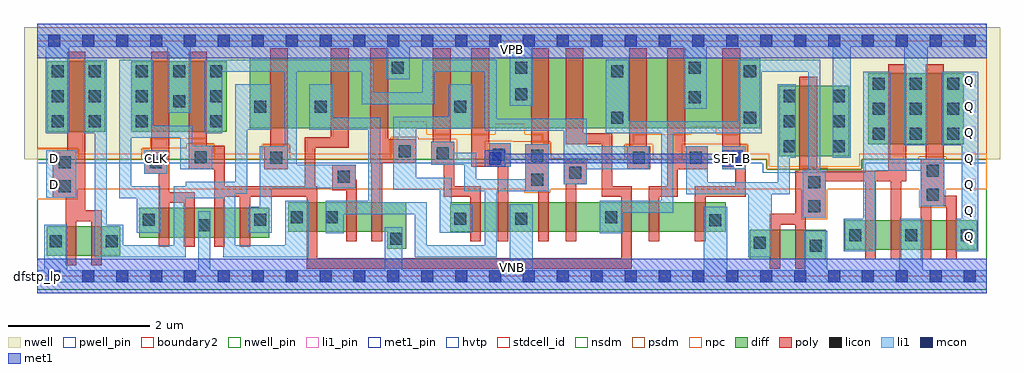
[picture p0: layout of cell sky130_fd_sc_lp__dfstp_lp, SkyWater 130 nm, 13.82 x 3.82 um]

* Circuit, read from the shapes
.subckt sky130_fd_sc_lp__dfstp_lp CLK D Q SET_B VGND VNB VPB VPWR
XM1 n1 D VGND VNB sky130_fd_pr__nfet_01v8 w=0.42 l=0.15
XM2 n2 D n1 VNB sky130_fd_pr__nfet_01v8 w=0.42 l=0.15
XM3 n3 CLK n4 VNB sky130_fd_pr__nfet_01v8 w=0.42 l=0.15
XM4 VGND CLK n3 VNB sky130_fd_pr__nfet_01v8 w=0.42 l=0.15
XM5 n5 n4 VGND VNB sky130_fd_pr__nfet_01v8 w=0.42 l=0.15
XM6 n6 n4 n5 VNB sky130_fd_pr__nfet_01v8 w=0.42 l=0.15
XM7 n7 n4 n2 VNB sky130_fd_pr__nfet_01v8 w=0.42 l=0.15
XM8 n8 n6 n7 VNB sky130_fd_pr__nfet_01v8 w=0.42 l=0.15
XM9 VGND n9 n8 VNB sky130_fd_pr__nfet_01v8 w=0.42 l=0.15
XM10 n10 n7 n9 VNB sky130_fd_pr__nfet_01v8 w=0.42 l=0.15
XM11 VGND SET_B n10 VNB sky130_fd_pr__nfet_01v8 w=0.42 l=0.15
XM12 n11 n7 VGND VNB sky130_fd_pr__nfet_01v8 w=0.42 l=0.15
XM13 n12 n6 n11 VNB sky130_fd_pr__nfet_01v8 w=0.42 l=0.15
XM14 n13 n4 n12 VNB sky130_fd_pr__nfet_01v8 w=0.42 l=0.15
XM15 n14 n15 n13 VNB sky130_fd_pr__nfet_01v8 w=0.42 l=0.15
XM16 VGND SET_B n14 VNB sky130_fd_pr__nfet_01v8 w=0.42 l=0.15
XM17 n16 n12 n15 VNB sky130_fd_pr__nfet_01v8 w=0.42 l=0.15
XM18 VGND n12 n16 VNB sky130_fd_pr__nfet_01v8 w=0.42 l=0.15
XM19 n17 n12 n18 VNB sky130_fd_pr__nfet_01v8 w=0.42 l=0.15
XM20 VGND n12 n17 VNB sky130_fd_pr__nfet_01v8 w=0.42 l=0.15
XM21 n19 n18 VGND VNB sky130_fd_pr__nfet_01v8 w=0.42 l=0.15
XM22 Q n18 n19 VNB sky130_fd_pr__nfet_01v8 w=0.42 l=0.15
XM23 n2 D VPWR VPB sky130_fd_pr__pfet_01v8_hvt w=1 l=0.25
XM24 VPWR CLK n4 VPB sky130_fd_pr__pfet_01v8_hvt w=1 l=0.25
XM25 n6 n4 VPWR VPB sky130_fd_pr__pfet_01v8_hvt w=1 l=0.25
XM26 n7 n6 n2 VPB sky130_fd_pr__pfet_01v8_hvt w=1 l=0.25
XM27 n20 n4 n7 VPB sky130_fd_pr__pfet_01v8_hvt w=1 l=0.25
XM28 VPWR n9 n20 VPB sky130_fd_pr__pfet_01v8_hvt w=1 l=0.25
XM29 n9 n7 VPWR VPB sky130_fd_pr__pfet_01v8_hvt w=1 l=0.25
XM30 VPWR SET_B n9 VPB sky130_fd_pr__pfet_01v8_hvt w=1 l=0.25
XM31 n21 n7 VPWR VPB sky130_fd_pr__pfet_01v8_hvt w=1 l=0.25
XM32 n12 n4 n21 VPB sky130_fd_pr__pfet_01v8_hvt w=1 l=0.25
XM33 n22 n6 n12 VPB sky130_fd_pr__pfet_01v8_hvt w=1 l=0.25
XM34 VPWR n15 n22 VPB sky130_fd_pr__pfet_01v8_hvt w=1 l=0.25
XM35 n12 SET_B VPWR VPB sky130_fd_pr__pfet_01v8_hvt w=1 l=0.25
XM36 VPWR n12 n15 VPB sky130_fd_pr__pfet_01v8_hvt w=1 l=0.25
XM37 VPWR n12 n18 VPB sky130_fd_pr__pfet_01v8_hvt w=1 l=0.25
XM38 Q n18 VPWR VPB sky130_fd_pr__pfet_01v8_hvt w=1 l=0.25
.ends

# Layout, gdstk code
import gdstk
lib = gdstk.Library(unit=1e-6, precision=1e-09)
def R(c, l, rs):  # rectangles x0, y0, x1, y1
    for r in rs: c.add(gdstk.rectangle(r[:2], r[2:], *l))
def A(c, l, x, y, w, h, nx, ny, dx, dy):  # array of equal rectangles
    R(c, l, [(x+i*dx, y+j*dy, x+i*dx+w, y+j*dy+h) for i in range(nx) for j in range(ny)])
def P(c, l, *ps):  # polygons
    for p in ps: c.add(gdstk.Polygon(p, *l))
nwell_pin = (64, 16)
nwell = (64, 20)
diff = (65, 20)
poly = (66, 20)
licon = (66, 44)
li1_pin = (67, 16)
li1 = (67, 20)
mcon = (67, 44)
met1_pin = (68, 16)
met1 = (68, 20)
hvtp = (78, 44)
stdcell_id = (81, 4)
nsdm = (93, 44)
psdm = (94, 20)
npc = (95, 20)
pwell_pin = (122, 16)
boundary2 = (236, 0)

sky130_fd_sc_lp__dfstp_l = lib.new_cell('sky130_fd_sc_lp__dfstp_lp')
R(sky130_fd_sc_lp__dfstp_l, nwell_pin, [(0,3.085,13.44,3.33)])
P(sky130_fd_sc_lp__dfstp_l, nwell, [(13.63,3.52),(-0.19,3.52),(-0.19,1.655),(10.325,1.655),(10.325,1.515),(11.675,1.515),(11.675,1.655),(13.63,1.655)])
R(sky130_fd_sc_lp__dfstp_l, diff, [(10.085,0.235,11.165,0.655), (0.135,0.285,1.175,0.705), (11.435,0.37,13.305,0.79), (1.445,0.545,3.28,0.965), (5.845,0.625,9.745,1.045), (10.505,1.695,11.495,2.695), (11.765,1.87,13.115,2.87), (0.14,2.045,0.96,3.045), (1.33,2.045,2.68,3.045), (3.01,2.095,10.235,3.095)])
P(sky130_fd_sc_lp__dfstp_l, diff, [(5.225,1.045),(3.55,1.045),(3.55,0.625),(4.955,0.625),(4.955,0.385),(5.225,0.385)])
P(sky130_fd_sc_lp__dfstp_l, poly, [(0.91,0.93),(0.675,0.93),(0.675,3.175),(0.425,3.175),(0.425,1.78),(0.22,1.78),(0.22,1.11),(0.4,1.11),(0.4,0.155),(0.55,0.155),(0.55,0.78),(0.76,0.78),(0.76,0.155),(0.91,0.155)],
  [(2.225,1.19),(1.865,1.19),(1.865,3.175),(1.615,3.175),(1.615,1.78),(1.51,1.78),(1.51,1.45),(1.715,1.45),(1.715,0.415),(1.865,0.415),(1.865,1.04),(2.075,1.04),(2.075,0.415),(2.225,0.415)],
  [(3.545,3.225),(3.295,3.225),(3.295,1.84),(3.215,1.84),(3.215,1.51),(3.545,1.51)],
  [(4.52,1.365),(4.505,1.365),(4.505,1.575),(4.175,1.575),(4.175,1.215),(4.37,1.215),(4.37,0.495),(4.52,0.495)],
  [(5.365,1.935),(4.965,1.935),(4.965,3.225),(4.715,3.225),(4.715,1.605),(4.73,1.605),(4.73,0.495),(4.88,0.495),(4.88,1.605),(5.365,1.605)],
  [(6.28,1.27),(5.905,1.27),(5.905,1.905),(5.85,1.905),(5.85,3.225),(5.6,3.225),(5.6,1.905),(5.575,1.905),(5.575,1.575),(5.755,1.575),(5.755,1.12),(6.13,1.12),(6.13,0.495),(6.28,0.495)],
  [(6.7,1.88),(6.395,1.88),(6.395,3.225),(6.145,3.225),(6.145,1.55),(6.52,1.55),(6.52,0.495),(6.67,0.495),(6.67,1.55),(6.7,1.55)],
  [(7.24,3.225),(6.99,3.225),(6.99,1.87),(6.91,1.87),(6.91,1.2),(7.09,1.2),(7.09,0.495),(7.24,0.495)],
  [(7.78,1.63),(7.45,1.63),(7.45,1.3),(7.48,1.3),(7.48,0.495),(7.63,0.495),(7.63,1.3),(7.78,1.3)],
  [(8.415,1.27),(8.14,1.27),(8.14,2.02),(7.73,2.02),(7.73,3.225),(7.48,3.225),(7.48,1.87),(7.99,1.87),(7.99,1.12),(8.265,1.12),(8.265,0.255),(3.965,0.255),(3.965,1.27),(3.935,1.27),(3.935,1.815),(4.405,1.815),(4.405,3.225),(4.155,3.225),(4.155,1.965),(3.785,1.965),(3.785,1.27),(2.655,1.27),(2.655,1.845),(2.395,1.845),(2.395,3.175),(2.145,3.175),(2.145,1.515),(2.505,1.515),(2.505,0.415),(2.655,0.415),(2.655,1.12),(2.865,1.12),(2.865,0.415),(3.015,0.415),(3.015,1.12),(3.815,1.12),(3.815,0.105),(8.415,0.105)],
  [(8.68,1.84),(8.63,1.84),(8.63,3.225),(8.38,3.225),(8.38,1.84),(8.35,1.84),(8.35,1.51),(8.68,1.51)],
  [(9.49,1.84),(9.17,1.84),(9.17,3.225),(8.92,3.225),(8.92,1.27),(8.655,1.27),(8.655,0.495),(8.805,0.495),(8.805,1.12),(9.07,1.12),(9.07,1.51),(9.49,1.51)],
  [(10.03,1.84),(9.95,1.84),(9.95,3.225),(9.7,3.225),(9.7,1.51),(9.88,1.51),(9.88,1.27),(9.31,1.27),(9.31,0.495),(9.46,0.495),(9.46,1.12),(10.03,1.12)],
  [(12.3,3),(12.05,3),(12.05,1.495),(11.04,1.495),(11.04,2.825),(10.79,2.825),(10.79,1.495),(10.73,1.495),(10.73,0.88),(10.37,0.88),(10.37,0.105),(10.52,0.105),(10.52,0.73),(10.73,0.73),(10.73,0.105),(10.88,0.105),(10.88,0.825),(11.165,0.825),(11.165,1.345),(11.72,1.345),(11.72,0.24),(11.87,0.24),(11.87,1.345),(12.08,1.345),(12.08,0.24),(12.23,0.24),(12.23,1.345),(12.3,1.345)],
  [(13.02,1.14),(12.84,1.14),(12.84,1.66),(12.83,1.66),(12.83,3),(12.58,3),(12.58,1.66),(12.51,1.66),(12.51,0.24),(12.66,0.24),(12.66,0.99),(12.87,0.99),(12.87,0.24),(13.02,0.24)])
A(sky130_fd_sc_lp__dfstp_l, licon, 11.495, 0.495, 0.17, 0.17, 3, 1, 0.79, 0)
A(sky130_fd_sc_lp__dfstp_l, licon, 10.565, 1.755, 0.17, 0.17, 1, 3, 0, 0.355)
A(sky130_fd_sc_lp__dfstp_l, licon, 11.265, 1.755, 0.17, 0.17, 1, 3, 0, 0.355)
A(sky130_fd_sc_lp__dfstp_l, licon, 11.825, 1.93, 0.17, 0.17, 3, 3, 0.53, 0.355)
A(sky130_fd_sc_lp__dfstp_l, licon, 0.2, 2.105, 0.17, 0.17, 1, 3, 0, 0.355)
A(sky130_fd_sc_lp__dfstp_l, licon, 0.73, 2.105, 0.17, 0.17, 1, 3, 0, 0.355)
A(sky130_fd_sc_lp__dfstp_l, licon, 1.39, 2.815, 0.17, 0.17, 3, 1, 0.53, 0)
R(sky130_fd_sc_lp__dfstp_l, licon, [(10.935,0.345,11.105,0.515), (10.145,0.385,10.315,0.555), (0.175,0.41,0.345,0.58), (0.965,0.41,1.135,0.58), (4.995,0.445,5.165,0.615), (2.28,0.635,2.45,0.805), (9.515,0.705,9.685,0.875), (1.49,0.715,1.66,0.885), (3.07,0.715,3.24,0.885), (6.765,0.725,6.935,0.895), (5.905,0.73,6.075,0.9), (3.59,0.75,3.76,0.92), (4.085,0.75,4.255,0.92), (8.04,0.75,8.21,0.92), (10.915,0.905,11.085,1.075), (12.59,1.07,12.76,1.24), (0.3,1.19,0.47,1.36), (10.915,1.245,11.085,1.415), (6.99,1.28,7.16,1.45), (4.255,1.325,4.425,1.495), (7.53,1.38,7.7,1.55), (12.59,1.41,12.76,1.58), (0.3,1.53,0.47,1.7), (1.59,1.53,1.76,1.7), (3.295,1.59,3.465,1.76), (8.43,1.59,8.6,1.76), (9.24,1.59,9.41,1.76), (9.78,1.59,9.95,1.76), (2.225,1.595,2.395,1.765), (6.99,1.62,7.16,1.79), (6.45,1.63,6.62,1.8), (5.655,1.655,5.825,1.825), (5.115,1.685,5.285,1.855), (1.39,2.105,1.56,2.275), (2.45,2.105,2.62,2.275), (8.125,2.155,8.295,2.325), (10.005,2.155,10.175,2.325), (3.07,2.31,3.24,2.48), (3.93,2.31,4.1,2.48), (5.905,2.315,6.075,2.485), (1.92,2.39,2.09,2.56), (9.225,2.45,9.395,2.62), (1.39,2.46,1.56,2.63), (2.45,2.46,2.62,2.63), (6.765,2.49,6.935,2.66), (8.125,2.815,8.295,2.985), (10.005,2.815,10.175,2.985), (5.02,2.865,5.19,3.035), (6.765,2.865,6.935,3.035), (9.225,2.865,9.395,3.035)])
A(sky130_fd_sc_lp__dfstp_l, li1_pin, 13.115, 0.47, 0.17, 0.17, 1, 7, 0, 0.37)
R(sky130_fd_sc_lp__dfstp_l, li1_pin, [(0.155,1.21,0.325,1.38), (0.155,1.58,0.325,1.75), (1.595,1.58,1.765,1.75)])
R(sky130_fd_sc_lp__dfstp_l, li1, [(0.125,1.11,0.55,1.78), (1.51,1.45,1.84,1.78), (9.7,1.51,10.03,1.84), (6.395,1.55,6.7,1.88)])
P(sky130_fd_sc_lp__dfstp_l, li1, [(0.12,2.025),(0.12,3.245),(0,3.245),(0,3.415),(13.44,3.415),(13.44,3.245),(12.605,3.245),(12.605,1.85),(12.275,1.85),(12.275,3.245),(11.515,3.245),(11.515,1.675),(11.265,1.675),(11.265,3.245),(9.475,3.245),(9.475,2.37),(9.145,2.37),(9.145,3.245),(7.015,3.245),(7.015,2.41),(6.685,2.41),(6.685,3.245),(5.27,3.245),(5.27,2.785),(4.94,2.785),(4.94,3.245),(2.17,3.245),(2.17,2.31),(1.84,2.31),(1.84,3.245),(0.45,3.245),(0.45,2.025)],
  [(2.28,0.085),(2.28,0.92),(2.45,0.92),(2.45,0.085),(4.915,0.085),(4.915,0.695),(5.165,0.695),(5.165,0.085),(6.685,0.085),(6.685,1.02),(7.015,1.02),(7.015,0.085),(9.435,0.085),(9.435,0.98),(9.765,0.98),(9.765,0.085),(10.855,0.085),(10.855,0.645),(11.185,0.645),(11.185,0.085),(12.205,0.085),(12.205,0.81),(12.535,0.81),(12.535,0.085),(13.44,0.085),(13.44,-0.085),(0,-0.085),(0,0.085),(0.095,0.085),(0.095,0.725),(0.425,0.725),(0.425,0.085)],
  [(12.805,1.85),(12.805,2.89),(13.325,2.89),(13.325,0.35),(12.995,0.35),(12.995,0.81),(13.085,0.81),(13.085,1.85)],
  [(12.075,1.66),(12.84,1.66),(12.84,0.99),(12.51,0.99),(12.51,1.49),(11.865,1.49),(11.865,0.35),(11.415,0.35),(11.415,0.81),(11.695,0.81),(11.695,2.89),(12.075,2.89)],
  [(5.035,1.225),(5.035,2.255),(5.825,2.255),(5.825,2.715),(6.155,2.715),(6.155,2.085),(5.365,2.085),(5.365,1.395),(5.865,1.395),(5.865,1.02),(6.155,1.02),(6.155,0.615),(5.695,0.615),(5.695,1.225)],
  [(5.515,0.435),(6.335,0.435),(6.335,1.2),(6.045,1.2),(6.045,1.575),(5.575,1.575),(5.575,1.905),(5.905,1.905),(5.905,1.745),(6.215,1.745),(6.215,1.37),(6.91,1.37),(6.91,1.87),(7.24,1.87),(7.24,1.2),(6.505,1.2),(6.505,0.265),(5.345,0.265),(5.345,0.875),(4.335,0.875),(4.335,0.605),(4.085,0.605),(4.085,1.065),(4.685,1.065),(4.685,2.075),(3.85,2.075),(3.85,2.715),(4.18,2.715),(4.18,2.245),(4.855,2.245),(4.855,1.045),(5.515,1.045)],
  [(0.65,2.025),(0.65,3.065),(0.98,3.065),(0.98,0.725),(1.215,0.725),(1.215,0.435),(1.93,0.435),(1.93,1.27),(2.1,1.27),(2.1,1.335),(2.8,1.335),(2.8,2.715),(3.32,2.715),(3.32,2.075),(2.97,2.075),(2.97,1.165),(2.8,1.165),(2.8,0.435),(3.51,0.435),(3.51,1.065),(3.84,1.065),(3.84,0.265),(2.63,0.265),(2.63,1.1),(2.1,1.1),(2.1,0.265),(0.81,0.265),(0.81,2.025)],
  [(3.15,1.84),(3.5,1.84),(3.5,2.895),(2.62,2.895),(2.62,2.025),(2.37,2.025),(2.37,3.065),(4.76,3.065),(4.76,2.605),(5.45,2.605),(5.45,3.065),(6.505,3.065),(6.505,2.23),(7.78,2.23),(7.78,1.84),(8.655,1.84),(8.655,1.51),(7.78,1.51),(7.78,1.3),(7.45,1.3),(7.45,2.06),(6.335,2.06),(6.335,2.895),(5.62,2.895),(5.62,2.435),(4.59,2.435),(4.59,2.895),(3.67,2.895),(3.67,1.575),(4.505,1.575),(4.505,1.245),(3.32,1.245),(3.32,0.615),(2.99,0.615),(2.99,0.985),(3.15,0.985)],
  [(1.16,1.1),(1.16,3.065),(1.64,3.065),(1.64,2.13),(2.19,2.13),(2.19,1.845),(2.475,1.845),(2.475,1.515),(2.02,1.515),(2.02,1.96),(1.33,1.96),(1.33,1.27),(1.74,1.27),(1.74,0.615),(1.41,0.615),(1.41,1.1)],
  [(9.49,1.33),(10.485,1.33),(10.485,2.715),(10.735,2.715),(10.735,1.675),(10.655,1.675),(10.655,1.16),(10.395,1.16),(10.395,0.265),(10.065,0.265),(10.065,1.16),(9.185,1.16),(9.185,1.84),(9.49,1.84)],
  [(8.375,2.19),(9.925,2.19),(9.925,3.065),(11.085,3.065),(11.085,1.495),(11.165,1.495),(11.165,0.825),(10.835,0.825),(10.835,1.495),(10.915,1.495),(10.915,2.895),(10.255,2.895),(10.255,2.02),(9.005,2.02),(9.005,0.895),(8.29,0.895),(8.29,0.605),(7.96,0.605),(7.96,1.065),(8.835,1.065),(8.835,2.02),(8.045,2.02),(8.045,3.065),(8.375,3.065)])
A(sky130_fd_sc_lp__dfstp_l, mcon, 0.155, -0.085, 0.17, 0.17, 28, 2, 0.48, 3.33)
R(sky130_fd_sc_lp__dfstp_l, mcon, [(6.395,1.58,6.565,1.75), (9.755,1.58,9.925,1.75)])
R(sky130_fd_sc_lp__dfstp_l, met1_pin, [(0,0,13.44,0.245), (9.755,1.58,9.925,1.75), (0,3.085,13.44,3.33)])
R(sky130_fd_sc_lp__dfstp_l, met1, [(0,-0.245,13.44,0.245), (0,3.085,13.44,3.575)])
P(sky130_fd_sc_lp__dfstp_l, met1, [(6.625,1.735),(9.695,1.735),(9.695,1.78),(9.985,1.78),(9.985,1.55),(9.695,1.55),(9.695,1.595),(6.625,1.595),(6.625,1.55),(6.335,1.55),(6.335,1.78),(6.625,1.78)])
P(sky130_fd_sc_lp__dfstp_l, hvtp, [(13.44,3.33),(0,3.33),(0,1.6),(10.27,1.6),(10.27,1.46),(11.73,1.46),(11.73,1.6),(13.44,1.6)])
R(sky130_fd_sc_lp__dfstp_l, stdcell_id, [(0,0,13.44,3.33)])
P(sky130_fd_sc_lp__dfstp_l, nsdm, [(13.44,1.655),(11.675,1.655),(11.675,1.515),(10.325,1.515),(10.325,1.655),(0,1.655),(0,-0.19),(13.44,-0.19)])
P(sky130_fd_sc_lp__dfstp_l, psdm, [(13.44,3.52),(0,3.52),(0,1.81),(0.58,1.81),(0.58,1.655),(1.48,1.655),(1.48,1.81),(2.115,1.81),(2.115,1.875),(2.505,1.875),(2.505,1.655),(3.185,1.655),(3.185,1.87),(3.575,1.87),(3.575,1.655),(5.005,1.655),(5.005,1.965),(5.395,1.965),(5.395,1.935),(5.935,1.935),(5.935,1.655),(6.34,1.655),(6.34,1.91),(6.73,1.91),(6.73,1.9),(7.27,1.9),(7.27,1.66),(7.81,1.66),(7.81,1.655),(8.32,1.655),(8.32,1.87),(8.71,1.87),(8.71,1.655),(9.13,1.655),(9.13,1.87),(10.06,1.87),(10.06,1.655),(10.325,1.655),(10.325,1.515),(10.805,1.515),(10.805,1.525),(11.195,1.525),(11.195,1.515),(11.675,1.515),(11.675,1.655),(12.48,1.655),(12.48,1.69),(12.87,1.69),(12.87,1.655),(13.44,1.655)])
P(sky130_fd_sc_lp__dfstp_l, npc, [(13.44,1.73),(11.635,1.73),(11.635,1.555),(10.365,1.555),(10.365,1.73),(10.05,1.73),(10.05,1.86),(9.945,1.86),(9.945,2.005),(9.61,2.005),(9.61,2.125),(9.26,2.125),(9.26,2.005),(8.435,2.005),(8.435,1.86),(8.33,1.86),(8.33,1.73),(7.26,1.73),(7.26,1.89),(7.155,1.89),(7.155,2.005),(6.9,2.005),(6.9,2.155),(6.485,2.155),(6.485,2.005),(5.51,2.005),(5.51,2.19),(5.12,2.19),(5.12,1.955),(5.015,1.955),(5.015,1.73),(3.565,1.73),(3.565,1.86),(3.195,1.86),(3.195,1.73),(2.495,1.73),(2.495,1.865),(2.39,1.865),(2.39,1.955),(1.595,1.955),(1.595,1.8),(1.49,1.8),(1.49,1.73),(0.57,1.73),(0.57,1.8),(0,1.8),(0,1.09),(0.57,1.09),(0.57,1.23),(4.155,1.23),(4.155,1.225),(4.525,1.225),(4.525,1.23),(6.89,1.23),(6.89,1.18),(7.26,1.18),(7.26,1.23),(10.815,1.23),(10.815,0.805),(11.185,0.805),(11.185,1.23),(12.49,1.23),(12.49,0.97),(12.86,0.97),(12.86,1.23),(13.44,1.23)])
R(sky130_fd_sc_lp__dfstp_l, pwell_pin, [(0,0,13.44,0.245)])
R(sky130_fd_sc_lp__dfstp_l, boundary2, [(0,0,13.44,3.33)])
sky130_fd_sc_lp__dfstp_l.add(gdstk.Label('VNB', (6.72,0.123), layer=64, texttype=59))
sky130_fd_sc_lp__dfstp_l.add(gdstk.Label('VPB', (6.72,3.208), layer=64, texttype=5))
sky130_fd_sc_lp__dfstp_l.add(gdstk.Label('dfstp_lp', (0,0), layer=83, texttype=44))
sky130_fd_sc_lp__dfstp_l.add(gdstk.Label('SET_B', (9.84,1.665), layer=68, texttype=5))
sky130_fd_sc_lp__dfstp_l.add(gdstk.Label('VPWR', (6.72,3.208), layer=68, texttype=5))
sky130_fd_sc_lp__dfstp_l.add(gdstk.Label('VGND', (6.72,0.123), layer=68, texttype=5))
sky130_fd_sc_lp__dfstp_l.add(gdstk.Label('D', (0.24,1.295), layer=67, texttype=5))
sky130_fd_sc_lp__dfstp_l.add(gdstk.Label('D', (0.24,1.665), layer=67, texttype=5))
sky130_fd_sc_lp__dfstp_l.add(gdstk.Label('CLK', (1.68,1.665), layer=67, texttype=5))
sky130_fd_sc_lp__dfstp_l.add(gdstk.Label('Q', (13.2,0.555), layer=67, texttype=5))
sky130_fd_sc_lp__dfstp_l.add(gdstk.Label('Q', (13.2,0.925), layer=67, texttype=5))
sky130_fd_sc_lp__dfstp_l.add(gdstk.Label('Q', (13.2,1.295), layer=67, texttype=5))
sky130_fd_sc_lp__dfstp_l.add(gdstk.Label('Q', (13.2,1.665), layer=67, texttype=5))
sky130_fd_sc_lp__dfstp_l.add(gdstk.Label('Q', (13.2,2.035), layer=67, texttype=5))
sky130_fd_sc_lp__dfstp_l.add(gdstk.Label('Q', (13.2,2.405), layer=67, texttype=5))
sky130_fd_sc_lp__dfstp_l.add(gdstk.Label('Q', (13.2,2.775), layer=67, texttype=5))

lib.write_gds('sky130_fd_sc_lp__dfstp_lp.gds')
